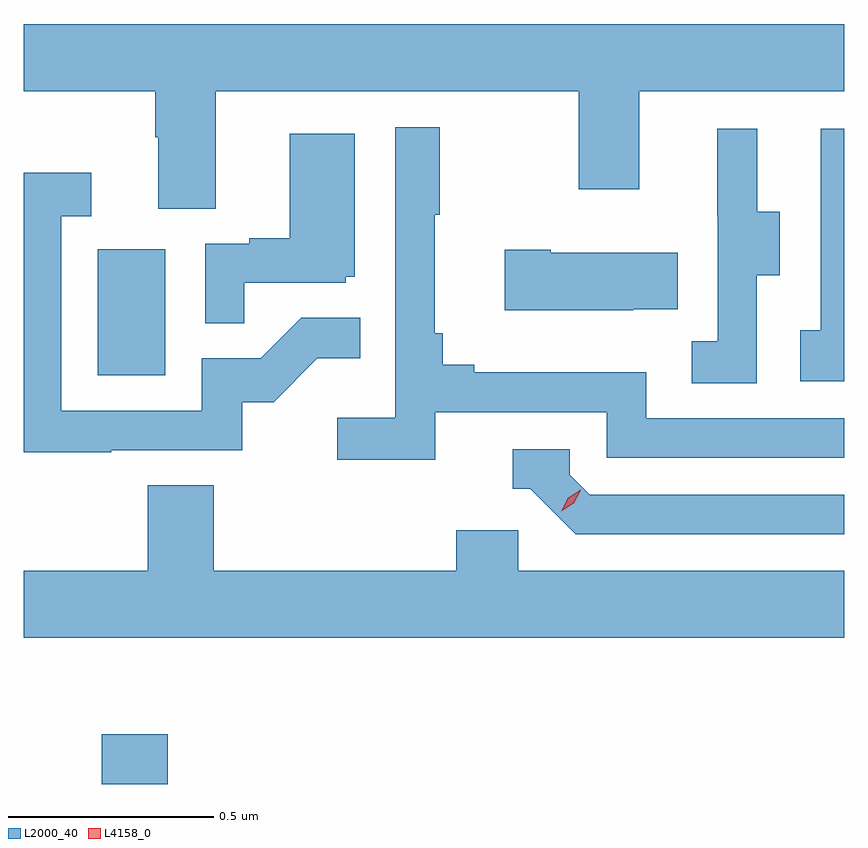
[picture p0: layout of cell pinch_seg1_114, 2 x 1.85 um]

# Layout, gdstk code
import gdstk
lib = gdstk.Library(unit=1e-6, precision=1e-09)
def R(c, l, rs):  # rectangles x0, y0, x1, y1
    for r in rs: c.add(gdstk.rectangle(r[:2], r[2:], *l))
def P(c, l, *ps):  # polygons
    for p in ps: c.add(gdstk.Polygon(p, *l))
L2000_40 = (2000, 40)
L4158_0 = (4158, 0)

pinch_seg1_114 = lib.new_cell('pinch_seg1_114')
R(pinch_seg1_114, L2000_40, [(1032.017,554.04,1032.178,554.161), (1032.008,555.036,1032.172,555.343)])
P(pinch_seg1_114, L2000_40, [(1032.295,555.728),(1033.18,555.728),(1033.18,555.489),(1033.327,555.489),(1033.327,555.728),(1033.827,555.728),(1033.827,555.892),(1031.827,555.892),(1031.827,555.728),(1032.148,555.728),(1032.148,555.616),(1032.155,555.616),(1032.155,555.442),(1032.295,555.442)],
  [(1032.83,554.946),(1033.248,554.946),(1033.248,554.835),(1033.827,554.835),(1033.827,554.931),(1033.344,554.931),(1033.344,555.043),(1032.925,555.043),(1032.925,555.062),(1032.848,555.062),(1032.848,555.139),(1032.829,555.139),(1032.829,555.427),(1032.841,555.427),(1032.841,555.64),(1032.732,555.64),(1032.732,554.932),(1032.591,554.932),(1032.591,554.83),(1032.83,554.83)],
  [(1033.614,555.28),(1033.669,555.28),(1033.669,555.435),(1033.615,555.435),(1033.615,555.637),(1033.517,555.637),(1033.517,555.423),(1033.518,555.423),(1033.518,555.119),(1033.455,555.119),(1033.455,555.016),(1033.614,555.016)],
  [(1033.827,555.637),(1033.77,555.637),(1033.77,555.146),(1033.719,555.146),(1033.719,555.021),(1033.827,555.021)],
  [(1032.365,555.261),(1032.612,555.261),(1032.612,555.276),(1032.634,555.276),(1032.634,555.625),(1032.476,555.625),(1032.476,555.37),(1032.377,555.37),(1032.377,555.357),(1032.27,555.357),(1032.27,555.163),(1032.365,555.163)],
  [(1032.041,554.853),(1032.36,554.853),(1032.36,554.97),(1032.436,554.97),(1032.543,555.077),(1032.647,555.077),(1032.647,555.176),(1032.503,555.176),(1032.405,555.078),(1032.261,555.078),(1032.261,554.949),(1031.919,554.949),(1031.919,555.423),(1031.992,555.423),(1031.992,555.529),(1031.827,555.529),(1031.827,554.848),(1032.041,554.848)],
  [(1033.313,555.197),(1033.421,555.197),(1033.421,555.334),(1033.111,555.334),(1033.111,555.342),(1032.999,555.342),(1032.999,555.194),(1033.313,555.194)],
  [(1033.827,554.745),(1033.206,554.745),(1033.158,554.793),(1033.158,554.856),(1033.019,554.856),(1033.019,554.76),(1033.062,554.76),(1033.173,554.649),(1033.827,554.649)],
  [(1033.827,554.56),(1033.032,554.56),(1033.032,554.658),(1032.881,554.658),(1032.881,554.56),(1032.29,554.56),(1032.29,554.768),(1032.13,554.768),(1032.13,554.56),(1031.827,554.56),(1031.827,554.396),(1033.827,554.396)])
P(pinch_seg1_114, L4158_0, [(1033.137,554.705),(1033.137,554.705),(1033.154,554.738),(1033.184,554.757),(1033.185,554.757),(1033.185,554.756),(1033.168,554.724),(1033.137,554.705)])

lib.write_gds('pinch_seg1_114.gds')
